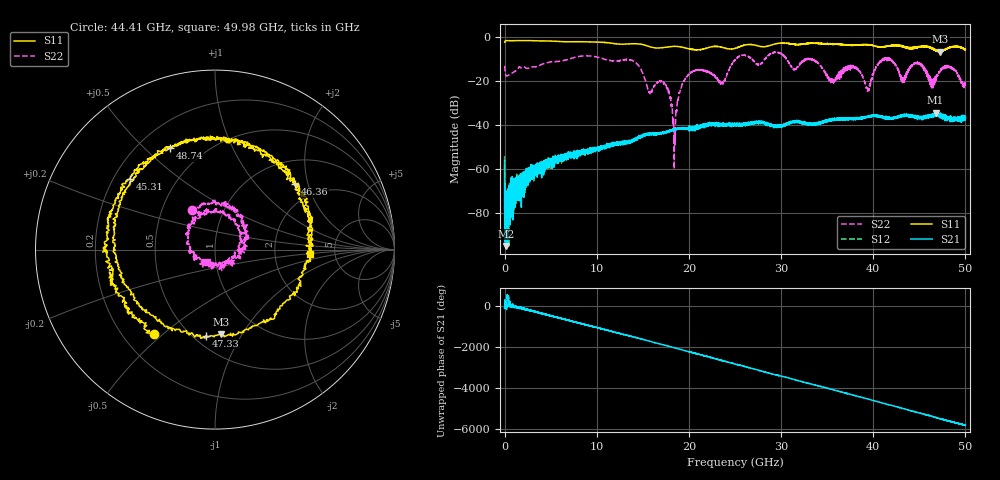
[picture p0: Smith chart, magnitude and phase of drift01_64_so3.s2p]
!Created with skrf (http://scikit-rf.org).
# Hz S RI R 50.0
!freq ReS11 ImS11 ReS21 ImS21 ReS12 ImS12 ReS22 ImS22
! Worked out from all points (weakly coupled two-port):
!   10001 points, 300 kHz to 50 GHz, reference 50 ohm
!   highest |S21| = -34.13 dB at 46.77 GHz (marker M1); lowest = -94.9 dB at 130.3 MHz (marker M2)
!   lowest |S11| = -6.5 dB at 47.28 GHz (marker M3), VSWR 2.79, Z = 33.5 - j40.7 ohm
!   |S11| at or under -10 dB: nowhere
!   |S22| runs from -59.8 to -6.6 dB; largest |S21 - S12| = 0.0036
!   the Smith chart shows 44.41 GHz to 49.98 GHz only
!   S11 on the Smith chart (normalised r, x): 44.41 GHz: 0.33, -0.46; 45.31 GHz: 0.27, +0.34; 46.36 GHz: 1.52, +1.65; 47.33 GHz: 0.58, -0.72; 48.74 GHz: 0.33, +0.60; 49.98 GHz: 3.24, -0.24
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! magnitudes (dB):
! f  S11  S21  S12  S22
! 300 kHz  -2.1  -56.4  -54.0  -12.9
! 130.3 MHz  -1.5  -94.9  -74.9  -17.2
! 8.335 GHz  -1.9  -52.6  -53.5  -8.5
! 16.67 GHz  -4.8  -43.8  -43.6  -19.9
! 17.74 GHz  -4.3  -42.6  -42.8  -24.5
! 18.45 GHz  -4.0  -41.9  -42.0  -43.3
! 19.95 GHz  -5.1  -41.6  -41.6  -16.9
! 23.63 GHz  -4.5  -39.3  -39.4  -20.8
! 25 GHz  -5.0  -39.5  -39.5  -10.1
! 33.34 GHz  -2.6  -39.2  -39.6  -9.9
! 39.43 GHz  -3.3  -36.2  -36.2  -23.8
! 41.67 GHz  -3.8  -37.0  -36.7  -10.2
! 43.19 GHz  -4.0  -35.4  -35.7  -20.0
! 44.41 GHz  -4.8  -35.7  -36.0  -12.0
! 45.31 GHz  -4.2  -35.9  -36.4  -12.7
! 46.36 GHz  -4.8  -35.4  -35.7  -20.8
! 46.77 GHz  -5.9  -34.1  -35.5  -18.0
! 47.28 GHz  -6.5  -35.5  -35.8  -14.6
! 47.33 GHz  -6.3  -35.5  -35.5  -15.0
! 48.74 GHz  -4.1  -37.8  -37.2  -14.8
! 49.98 GHz  -5.5  -36.3  -36.6  -21.6
! 50 GHz  -5.5  -36.5  -36.3  -21.6
